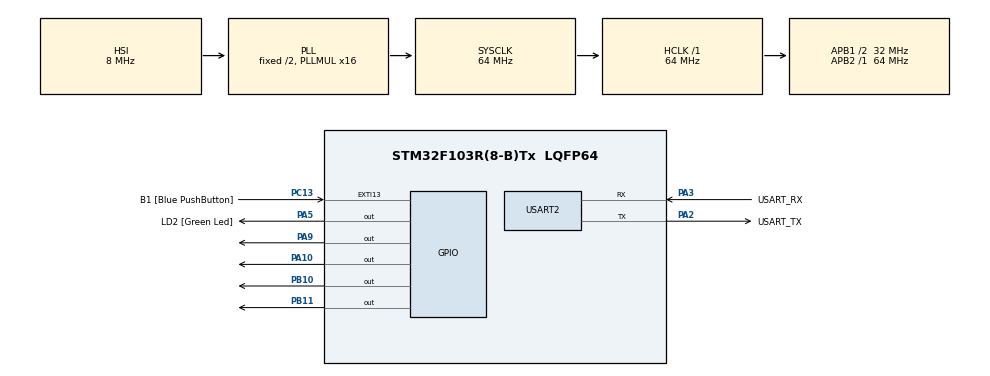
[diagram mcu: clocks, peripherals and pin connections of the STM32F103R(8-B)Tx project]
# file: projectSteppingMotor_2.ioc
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Mcu.Family=STM32F1
Mcu.Name=STM32F103R(8-B)Tx
Mcu.Package=LQFP64
NVIC.EXTI15_10_IRQn=true\:0\:0\:false\:false\:true\:true\:true\:true
NVIC.PriorityGroup=NVIC_PRIORITYGROUP_4
PA10.Signal=GPIO_Output
PA13.GPIO_Label=TMS
PA13.Mode=Serial_Wire
PA13.Signal=SYS_JTMS-SWDIO
PA14.GPIO_Label=TCK
PA14.Mode=Serial_Wire
PA14.Signal=SYS_JTCK-SWCLK
PA2.GPIO_Label=USART_TX
PA2.GPIO_Mode=GPIO_MODE_AF_PP
PA2.GPIO_PuPd=GPIO_NOPULL
PA2.GPIO_Speed=GPIO_SPEED_FREQ_LOW
PA2.Mode=Asynchronous
PA2.Signal=USART2_TX
PA3.GPIO_Label=USART_RX
PA3.GPIO_Mode=GPIO_MODE_AF_PP
PA3.GPIO_PuPd=GPIO_NOPULL
PA3.GPIO_Speed=GPIO_SPEED_FREQ_LOW
PA3.Mode=Asynchronous
PA3.Signal=USART2_RX
PA5.GPIO_Label=LD2 [Green Led]
PA5.GPIO_ModeDefaultOutputPP=GPIO_MODE_OUTPUT_PP
PA5.GPIO_PuPd=GPIO_NOPULL
PA5.GPIO_Speed=GPIO_SPEED_FREQ_LOW
PA5.Signal=GPIO_Output
PA9.Signal=GPIO_Output
PB10.Signal=GPIO_Output
PB11.Signal=GPIO_Output
PB3.GPIO_Label=SWO
PB3.Signal=SYS_JTDO-TRACESWO
PC13-TAMPER-RTC.GPIO_Label=B1 [Blue PushButton]
PC13-TAMPER-RTC.GPIO_PuPd=GPIO_NOPULL
PC13-TAMPER-RTC.Signal=GPXTI13
PC14-OSC32_IN.Mode=LSE-External-Oscillator
PC14-OSC32_IN.Signal=RCC_OSC32_IN
PC15-OSC32_OUT.Mode=LSE-External-Oscillator
PC15-OSC32_OUT.Signal=RCC_OSC32_OUT
PD0-OSC_IN.Mode=HSE-External-Clock-Source
PD0-OSC_IN.Signal=RCC_OSC_IN
PD1-OSC_OUT.Mode=HSE-External-Clock-Source
PD1-OSC_OUT.Signal=RCC_OSC_OUT
ProjectManager.HeapSize=0x200
ProjectManager.StackSize=0x400
ProjectManager.TargetToolchain=STM32CubeIDE
RCC.AHBFreq_Value=64000000
RCC.APB1CLKDivider=RCC_HCLK_DIV2
RCC.APB1Freq_Value=32000000
RCC.APB1TimFreq_Value=64000000
RCC.APB2Freq_Value=64000000
RCC.APB2TimFreq_Value=64000000
RCC.HCLKFreq_Value=64000000
RCC.PLLMUL=RCC_PLL_MUL16
RCC.RTCClockSelection=RCC_RTCCLKSOURCE_LSE
RCC.SYSCLKFreq_VALUE=64000000
RCC.SYSCLKSource=RCC_SYSCLKSOURCE_PLLCLK
RCC.USBFreq_Value=64000000
TIM2.Period=65534
TIM2.Prescaler=63
USART2.VirtualMode=VM_ASYNC
VP_TIM2_VS_ClockSourceINT.Mode=Internal
board=NUCLEO-F103RB

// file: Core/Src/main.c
/* USER CODE BEGIN Header */
/**
 ******************************************************************************
 * @file           : main.c
 * @brief          : Main program body
 ******************************************************************************
 * @attention
 *
 * Copyright (c) 2022 STMicroelectronics.
 * All rights reserved.
 *
 * This software is licensed under terms that can be found in the LICENSE file
 * in the root directory of this software component.
 * If no LICENSE file comes with this software, it is provided AS-IS.
 *
 ******************************************************************************
 */
/* USER CODE END Header */
#include "main.h"

/* USER CODE BEGIN Includes */
#include "stdbool.h"
/* USER CODE END Includes */

 TIM_HandleTypeDef htim2;

UART_HandleTypeDef huart2;

void SystemClock_Config(void);
static void MX_GPIO_Init(void);
static void MX_USART2_UART_Init(void);
static void MX_TIM2_Init(void);

/* USER CODE BEGIN 0 */
void us_delay(uint16_t delay)
{
	__HAL_TIM_SET_COUNTER(&htim2,0);
	while(__HAL_TIM_GET_COUNTER(&htim2)<delay);
}

void control_stepMotor(int joystick1_X) {

	if (joystick1_X == 1) { // counterclockwise
		dir=true;
	} else if (joystick1_X == 0) { // stop
		_step = 9;
	} else if (joystick1_X == 2) { // clockwise
		dir=false;
	}
	switch (_step) {
			case 0:
				HAL_GPIO_WritePin(GPIOA, GPIO_PIN_9, GPIO_PIN_SET);
				HAL_GPIO_WritePin(GPIOB, GPIO_PIN_10, GPIO_PIN_RESET);
				HAL_GPIO_WritePin(GPIOA, GPIO_PIN_10, GPIO_PIN_RESET);
				HAL_GPIO_WritePin(GPIOB, GPIO_PIN_11, GPIO_PIN_RESET);
				break;
			case 1:
				HAL_GPIO_WritePin(GPIOA, GPIO_PIN_9, GPIO_PIN_SET);
				HAL_GPIO_WritePin(GPIOB, GPIO_PIN_10, GPIO_PIN_SET);
				HAL_GPIO_WritePin(GPIOA, GPIO_PIN_10, GPIO_PIN_RESET);
				HAL_GPIO_WritePin(GPIOB, GPIO_PIN_11, GPIO_PIN_RESET);
				break;
			case 2:
				HAL_GPIO_WritePin(GPIOA, GPIO_PIN_9, GPIO_PIN_RESET);
				HAL_GPIO_WritePin(GPIOB, GPIO_PIN_10, GPIO_PIN_SET);
				HAL_GPIO_WritePin(GPIOA, GPIO_PIN_10, GPIO_PIN_RESET);
				HAL_GPIO_WritePin(GPIOB, GPIO_PIN_11, GPIO_PIN_RESET);
				break;
			case 3:
				HAL_GPIO_WritePin(GPIOA, GPIO_PIN_9, GPIO_PIN_RESET);
				HAL_GPIO_WritePin(GPIOB, GPIO_PIN_10, GPIO_PIN_SET);
				HAL_GPIO_WritePin(GPIOA, GPIO_PIN_10, GPIO_PIN_SET);
				HAL_GPIO_WritePin(GPIOB, GPIO_PIN_11, GPIO_PIN_RESET);
				break;
			case 4:
				HAL_GPIO_WritePin(GPIOA, GPIO_PIN_9, GPIO_PIN_RESET);
				HAL_GPIO_WritePin(GPIOB, GPIO_PIN_10, GPIO_PIN_RESET);
				HAL_GPIO_WritePin(GPIOA, GPIO_PIN_10, GPIO_PIN_SET);
				HAL_GPIO_WritePin(GPIOB, GPIO_PIN_11, GPIO_PIN_RESET);
				break;
			case 5:
				HAL_GPIO_WritePin(GPIOA, GPIO_PIN_9, GPIO_PIN_RESET);
				HAL_GPIO_WritePin(GPIOB, GPIO_PIN_10, GPIO_PIN_RESET);
				HAL_GPIO_WritePin(GPIOA, GPIO_PIN_10, GPIO_PIN_SET);
				HAL_GPIO_WritePin(GPIOB, GPIO_PIN_11, GPIO_PIN_SET);
				break;
			case 6:
				HAL_GPIO_WritePin(GPIOA, GPIO_PIN_9, GPIO_PIN_RESET);
				HAL_GPIO_WritePin(GPIOB, GPIO_PIN_10, GPIO_PIN_RESET);
				HAL_GPIO_WritePin(GPIOA, GPIO_PIN_10, GPIO_PIN_RESET);
				HAL_GPIO_WritePin(GPIOB, GPIO_PIN_11, GPIO_PIN_SET);
				break;
			case 7:
				HAL_GPIO_WritePin(GPIOA, GPIO_PIN_9, GPIO_PIN_SET);
				HAL_GPIO_WritePin(GPIOB, GPIO_PIN_10, GPIO_PIN_RESET);
				HAL_GPIO_WritePin(GPIOA, GPIO_PIN_10, GPIO_PIN_RESET);
				HAL_GPIO_WritePin(GPIOB, GPIO_PIN_11, GPIO_PIN_SET);
				break;
			default:
				HAL_GPIO_WritePin(GPIOA, GPIO_PIN_9, GPIO_PIN_RESET);
				HAL_GPIO_WritePin(GPIOB, GPIO_PIN_10, GPIO_PIN_RESET);
				HAL_GPIO_WritePin(GPIOA, GPIO_PIN_10, GPIO_PIN_RESET);
				HAL_GPIO_WritePin(GPIOB, GPIO_PIN_11, GPIO_PIN_RESET);
				break;
			}
			if (dir)
				_step++;
			else
				_step--;

			if (_step == 8)
				_step = 0;
			if (_step < 0)
				_step = 7;
			us_delay(2441);
}
/* USER CODE END 0 */

int main(void)
{

  /* MCU Configuration--------------------------------------------------------*/

  /* Reset of all peripherals, Initializes the Flash interface and the Systick. */
  HAL_Init();

  /* Configure the system clock */
  SystemClock_Config();

  /* Initialize all configured peripherals */
  MX_GPIO_Init();
  MX_USART2_UART_Init();
  MX_TIM2_Init();
  /* USER CODE BEGIN 2 */
	int _step = 0;
	bool dir = false;
	HAL_TIM_Base_Start(&htim2);
  /* USER CODE END 2 */

  /* Infinite loop */
  /* USER CODE BEGIN WHILE */
	while (1) {

//		HAL_Delay(1);
    /* USER CODE END WHILE */

	}
}

void SystemClock_Config(void)
{
  RCC_OscInitTypeDef RCC_OscInitStruct = {0};
  RCC_ClkInitTypeDef RCC_ClkInitStruct = {0};

  /** Initializes the RCC Oscillators according to the specified parameters
  * in the RCC_OscInitTypeDef structure.
  */
  RCC_OscInitStruct.OscillatorType = RCC_OSCILLATORTYPE_HSI;
  RCC_OscInitStruct.HSIState = RCC_HSI_ON;
  RCC_OscInitStruct.HSICalibrationValue = RCC_HSICALIBRATION_DEFAULT;
  RCC_OscInitStruct.PLL.PLLState = RCC_PLL_ON;
  RCC_OscInitStruct.PLL.PLLSource = RCC_PLLSOURCE_HSI_DIV2;
  RCC_OscInitStruct.PLL.PLLMUL = RCC_PLL_MUL16;
  if (HAL_RCC_OscConfig(&RCC_OscInitStruct) != HAL_OK)
  {
    Error_Handler();
  }

  /** Initializes the CPU, AHB and APB buses clocks
  */
  RCC_ClkInitStruct.ClockType = RCC_CLOCKTYPE_HCLK|RCC_CLOCKTYPE_SYSCLK
                              |RCC_CLOCKTYPE_PCLK1|RCC_CLOCKTYPE_PCLK2;
  RCC_ClkInitStruct.SYSCLKSource = RCC_SYSCLKSOURCE_PLLCLK;
  RCC_ClkInitStruct.AHBCLKDivider = RCC_SYSCLK_DIV1;
  RCC_ClkInitStruct.APB1CLKDivider = RCC_HCLK_DIV2;
  RCC_ClkInitStruct.APB2CLKDivider = RCC_HCLK_DIV1;

  if (HAL_RCC_ClockConfig(&RCC_ClkInitStruct, FLASH_LATENCY_2) != HAL_OK)
  {
    Error_Handler();
  }
}

static void MX_TIM2_Init(void)
{

  TIM_ClockConfigTypeDef sClockSourceConfig = {0};
  TIM_MasterConfigTypeDef sMasterConfig = {0};

  htim2.Instance = TIM2;
  htim2.Init.Prescaler = 63;
  htim2.Init.CounterMode = TIM_COUNTERMODE_UP;
  htim2.Init.Period = 65534;
  htim2.Init.ClockDivision = TIM_CLOCKDIVISION_DIV1;
  htim2.Init.AutoReloadPreload = TIM_AUTORELOAD_PRELOAD_DISABLE;
  if (HAL_TIM_Base_Init(&htim2) != HAL_OK)
  {
    Error_Handler();
  }
  sClockSourceConfig.ClockSource = TIM_CLOCKSOURCE_INTERNAL;
  if (HAL_TIM_ConfigClockSource(&htim2, &sClockSourceConfig) != HAL_OK)
  {
    Error_Handler();
  }
  sMasterConfig.MasterOutputTrigger = TIM_TRGO_RESET;
  sMasterConfig.MasterSlaveMode = TIM_MASTERSLAVEMODE_DISABLE;
  if (HAL_TIMEx_MasterConfigSynchronization(&htim2, &sMasterConfig) != HAL_OK)
  {
    Error_Handler();
  }

}

static void MX_USART2_UART_Init(void)
{

  huart2.Instance = USART2;
  huart2.Init.BaudRate = 115200;
  huart2.Init.WordLength = UART_WORDLENGTH_8B;
  huart2.Init.StopBits = UART_STOPBITS_1;
  huart2.Init.Parity = UART_PARITY_NONE;
  huart2.Init.Mode = UART_MODE_TX_RX;
  huart2.Init.HwFlowCtl = UART_HWCONTROL_NONE;
  huart2.Init.OverSampling = UART_OVERSAMPLING_16;
  if (HAL_UART_Init(&huart2) != HAL_OK)
  {
    Error_Handler();
  }

}

static void MX_GPIO_Init(void)
{
  GPIO_InitTypeDef GPIO_InitStruct = {0};

  /* GPIO Ports Clock Enable */
  __HAL_RCC_GPIOC_CLK_ENABLE();
  __HAL_RCC_GPIOD_CLK_ENABLE();
  __HAL_RCC_GPIOA_CLK_ENABLE();
  __HAL_RCC_GPIOB_CLK_ENABLE();

  /*Configure GPIO pin Output Level */
  HAL_GPIO_WritePin(GPIOA, LD2_Pin|GPIO_PIN_9|GPIO_PIN_10, GPIO_PIN_RESET);

  /*Configure GPIO pin Output Level */
  HAL_GPIO_WritePin(GPIOB, GPIO_PIN_10|GPIO_PIN_11, GPIO_PIN_RESET);

  /*Configure GPIO pin : B1_Pin */
  GPIO_InitStruct.Pin = B1_Pin;
  GPIO_InitStruct.Mode = GPIO_MODE_IT_RISING;
  GPIO_InitStruct.Pull = GPIO_NOPULL;
  HAL_GPIO_Init(B1_GPIO_Port, &GPIO_InitStruct);

  /*Configure GPIO pins : LD2_Pin PA9 PA10 */
  GPIO_InitStruct.Pin = LD2_Pin|GPIO_PIN_9|GPIO_PIN_10;
  GPIO_InitStruct.Mode = GPIO_MODE_OUTPUT_PP;
  GPIO_InitStruct.Pull = GPIO_NOPULL;
  GPIO_InitStruct.Speed = GPIO_SPEED_FREQ_LOW;
  HAL_GPIO_Init(GPIOA, &GPIO_InitStruct);

  /*Configure GPIO pins : PB10 PB11 */
  GPIO_InitStruct.Pin = GPIO_PIN_10|GPIO_PIN_11;
  GPIO_InitStruct.Mode = GPIO_MODE_OUTPUT_PP;
  GPIO_InitStruct.Pull = GPIO_NOPULL;
  GPIO_InitStruct.Speed = GPIO_SPEED_FREQ_LOW;
  HAL_GPIO_Init(GPIOB, &GPIO_InitStruct);

  /* EXTI interrupt init*/
  HAL_NVIC_SetPriority(EXTI15_10_IRQn, 0, 0);
  HAL_NVIC_EnableIRQ(EXTI15_10_IRQn);

}

void Error_Handler(void)
{
	__disable_irq();
	while (1) {
	}
}
